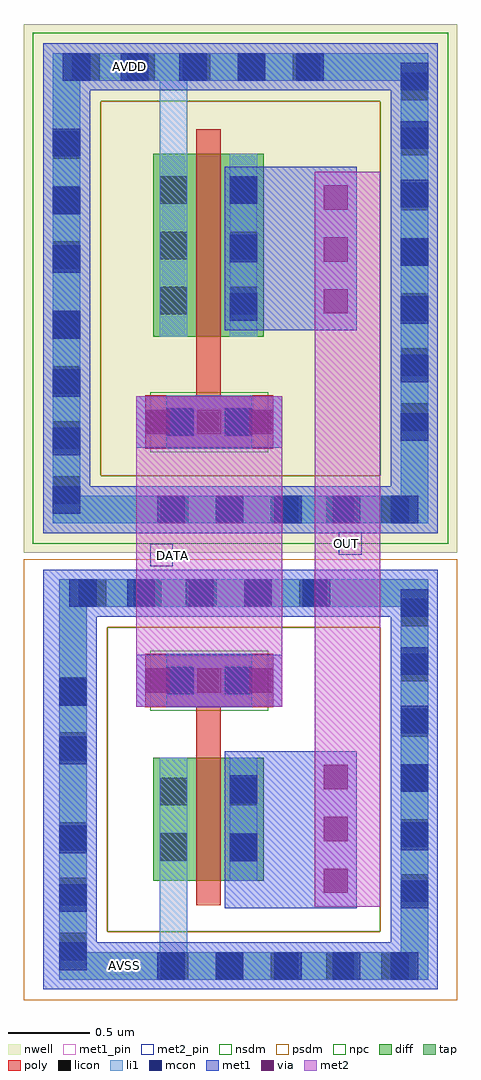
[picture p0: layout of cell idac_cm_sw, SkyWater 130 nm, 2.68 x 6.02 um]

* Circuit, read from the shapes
.subckt idac_cm_sw AVDD AVSS DATA OUT
XM1 OUT DATA AVSS AVSS sky130_fd_pr__nfet_01v8 w=0.76 l=0.15
XM2 OUT DATA AVDD AVDD sky130_fd_pr__pfet_01v8 w=1.13 l=0.15
.ends

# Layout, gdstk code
import gdstk
lib = gdstk.Library(unit=1e-6, precision=1e-09)
def R(c, l, rs):  # rectangles x0, y0, x1, y1
    for r in rs: c.add(gdstk.rectangle(r[:2], r[2:], *l))
def A(c, l, x, y, w, h, nx, ny, dx, dy):  # array of equal rectangles
    R(c, l, [(x+i*dx, y+j*dy, x+i*dx+w, y+j*dy+h) for i in range(nx) for j in range(ny)])
nwell = (64, 20)
diff = (65, 20)
tap = (65, 44)
poly = (66, 20)
licon = (66, 44)
li1 = (67, 20)
mcon = (67, 44)
met1_pin = (68, 16)
met1 = (68, 20)
via = (68, 44)
met2_pin = (69, 16)
met2 = (69, 20)
nsdm = (93, 44)
psdm = (94, 20)
npc = (95, 20)

nfet_01v8_cdns_730897416 = lib.new_cell('nfet_01v8_CDNS_730897416161')
R(nfet_01v8_cdns_730897416, diff, [(-0.265,0,0,0.76), (0,0,0.15,0.76), (0.15,0,0.415,0.76)])
R(nfet_01v8_cdns_730897416, poly, [(0,-0.15,0.15,-0.095), (0,-0.095,0.15,0), (0,0,0.15,0.76), (0,0.76,0.15,0.855), (0,0.855,0.15,0.91)])
R(nfet_01v8_cdns_730897416, licon, [(-0.225,0.125,-0.055,0.295), (0.205,0.125,0.375,0.295), (-0.225,0.465,-0.055,0.635), (0.205,0.465,0.375,0.635)])
R(nfet_01v8_cdns_730897416, li1, [(-0.225,0,-0.055,0.76), (0.205,0,0.375,0.76)])
R(nfet_01v8_cdns_730897416, nsdm, [(-0.405,-0.13,0.555,0.89)])

pfet_01v8_cdns_730897416 = lib.new_cell('pfet_01v8_CDNS_730897416162')
R(pfet_01v8_cdns_730897416, nwell, [(-0.445,-0.18,0.595,1.31)])
R(pfet_01v8_cdns_730897416, diff, [(-0.265,0,0,1.13), (0,0,0.15,1.13), (0.15,0,0.415,1.13)])
R(pfet_01v8_cdns_730897416, poly, [(0,-0.15,0.15,-0.095), (0,-0.095,0.15,0), (0,0,0.15,1.13), (0,1.13,0.15,1.225), (0,1.225,0.15,1.28)])
A(pfet_01v8_cdns_730897416, licon, -0.225, 0.14, 0.17, 0.17, 1, 3, 0, 0.34)
A(pfet_01v8_cdns_730897416, licon, 0.205, 0.14, 0.17, 0.17, 1, 3, 0, 0.34)
R(pfet_01v8_cdns_730897416, li1, [(-0.225,0,-0.055,1.13), (0.205,0,0.375,1.13)])
R(pfet_01v8_cdns_730897416, psdm, [(-0.405,-0.13,0.555,1.26)])

m1m2_c_cdns_730897416160 = lib.new_cell('M1M2_C_CDNS_730897416160')
R(m1m2_c_cdns_730897416160, met1, [(-0.45,-0.16,0.45,0.16)])
A(m1m2_c_cdns_730897416160, via, -0.395, -0.075, 0.15, 0.15, 3, 1, 0.32, 0)
R(m1m2_c_cdns_730897416160, met2, [(-0.45,-0.16,0.45,0.16)])

polyconn_cdns_7308974161 = lib.new_cell('polyConn_CDNS_730897416160')
R(polyconn_cdns_7308974161, poly, [(-0.395,-0.165,0.395,0.165)])
R(polyconn_cdns_7308974161, licon, [(-0.265,-0.085,-0.095,0.085), (0.095,-0.085,0.265,0.085)])
R(polyconn_cdns_7308974161, li1, [(-0.265,-0.165,0.265,0.165)])
R(polyconn_cdns_7308974161, mcon, [(-0.265,-0.085,-0.095,0.085), (0.095,-0.085,0.265,0.085)])
R(polyconn_cdns_7308974161, met1, [(-0.45,-0.16,0.45,0.16)])
R(polyconn_cdns_7308974161, npc, [(-0.365,-0.185,0.365,0.185)])

l1m1_c_cdns_730897416161 = lib.new_cell('L1M1_C_CDNS_730897416161')
R(l1m1_c_cdns_730897416161, li1, [(-0.085,-0.525,0.085,0.525)])
A(l1m1_c_cdns_730897416161, mcon, -0.085, -0.445, 0.17, 0.17, 1, 3, 0, 0.36)
R(l1m1_c_cdns_730897416161, met1, [(-0.115,-0.505,0.115,0.505)])

m1m2_c_cdns_730897416162 = lib.new_cell('M1M2_C_CDNS_730897416162')
R(m1m2_c_cdns_730897416162, met1, [(-0.13,-0.48,0.13,0.48)])
A(m1m2_c_cdns_730897416162, via, -0.075, -0.395, 0.15, 0.15, 1, 3, 0, 0.32)
R(m1m2_c_cdns_730897416162, met2, [(-0.13,-0.48,0.13,0.48)])

l1m1_c_cdns_730897416163 = lib.new_cell('L1M1_C_CDNS_730897416163')
R(l1m1_c_cdns_730897416163, li1, [(-0.085,-0.345,0.085,0.345)])
R(l1m1_c_cdns_730897416163, mcon, [(-0.085,-0.265,0.085,-0.095), (-0.085,0.095,0.085,0.265)])
R(l1m1_c_cdns_730897416163, met1, [(-0.115,-0.325,0.115,0.325)])

idac_cm_sw = lib.new_cell('idac_cm_sw')
R(idac_cm_sw, nwell, [(0,2.76,2.675,6.02)])
A(idac_cm_sw, licon, 0.845, 0.125, 0.17, 0.17, 5, 2, 0.34, 2.815)
A(idac_cm_sw, licon, 0.22, 0.245, 0.17, 0.17, 1, 3, 0, 0.34)
A(idac_cm_sw, licon, 2.325, 0.605, 0.17, 0.17, 1, 6, 0, 0.34)
A(idac_cm_sw, licon, 0.34, 2.425, 0.17, 0.17, 5, 1, 0.34, 0)
A(idac_cm_sw, licon, 0.18, 3.06, 0.17, 0.17, 1, 4, 0, 0.34)
A(idac_cm_sw, licon, 2.325, 3.51, 0.17, 0.17, 1, 7, 0, 0.34)
A(idac_cm_sw, licon, 0.18, 4.51, 0.17, 0.17, 1, 3, 0, 0.34)
A(idac_cm_sw, licon, 0.3, 5.67, 0.17, 0.17, 5, 1, 0.34, 0)
R(idac_cm_sw, licon, [(0.22,1.48,0.39,1.65), (0.22,1.82,0.39,1.99)])
A(idac_cm_sw, mcon, 0.825, 0.125, 0.17, 0.17, 5, 2, 0.36, 2.815)
A(idac_cm_sw, mcon, 0.22, 0.185, 0.17, 0.17, 1, 3, 0, 0.36)
A(idac_cm_sw, mcon, 2.325, 0.565, 0.17, 0.17, 1, 6, 0, 0.36)
A(idac_cm_sw, mcon, 0.28, 2.425, 0.17, 0.17, 5, 1, 0.36, 0)
A(idac_cm_sw, mcon, 0.18, 3, 0.17, 0.17, 1, 4, 0, 0.36)
A(idac_cm_sw, mcon, 2.325, 3.45, 0.17, 0.17, 1, 7, 0, 0.36)
A(idac_cm_sw, mcon, 0.18, 4.485, 0.17, 0.17, 1, 3, 0, 0.36)
A(idac_cm_sw, mcon, 0.24, 5.67, 0.17, 0.17, 5, 1, 0.36, 0)
R(idac_cm_sw, mcon, [(0.22,1.455,0.39,1.625), (0.22,1.815,0.39,1.985)])
R(idac_cm_sw, met1_pin, [(0.535,0.155,0.675,0.295), (0.47,5.685,0.61,5.825)])
R(idac_cm_sw, met1, [(0.12,0.065,0.29,2.655), (1.24,0.565,2.055,1.535), (1.24,4.13,2.055,5.14)])
R(idac_cm_sw, met2_pin, [(0.78,2.675,0.92,2.815), (1.945,2.745,2.085,2.885)])
R(idac_cm_sw, met2, [(1.795,0.575,2.2,5.11), (0.695,1.81,1.595,3.725)])
R(idac_cm_sw, nsdm, [(0.515,0.42,2.2,2.3)])
R(idac_cm_sw, psdm, [(0,0,0.105,2.72), (2.57,0,2.675,2.72), (0.475,3.235,2.2,5.545)])
idac_cm_sw.add(gdstk.FlexPath([(1.14,3.94),(1.14,3.565)], 0.15, ends="flush", simple_path=True, layer=66, datatype=20))  # poly
idac_cm_sw.add(gdstk.FlexPath([(1.14,1.645),(1.14,2.035)], 0.15, ends="flush", simple_path=True, layer=66, datatype=20))  # poly
idac_cm_sw.add(gdstk.FlexPath([(0.925,0.735),(0.925,0.21)], 0.17, ends="flush", simple_path=True, layer=67, datatype=20))  # li1
idac_cm_sw.add(gdstk.FlexPath([(0.925,5.22),(0.925,5.755)], 0.17, ends="flush", simple_path=True, layer=67, datatype=20))  # li1
idac_cm_sw.add(gdstk.FlexPath([(0.265,4.39),(0.265,5.755),(2.41,5.755),(2.41,3.025),(0.265,3.025),(0.265,4.39)], 0.17, ends="flush", simple_path=True, layer=67, datatype=20))  # li1
idac_cm_sw.add(gdstk.FlexPath([(0.305,1.36),(0.305,2.51),(2.41,2.51),(2.41,0.21),(0.305,0.21),(0.305,1.36)], 0.17, ends="flush", simple_path=True, layer=67, datatype=20))  # li1
idac_cm_sw.add(gdstk.FlexPath([(0.265,4.39),(0.265,5.755),(2.41,5.755),(2.41,3.025),(0.265,3.025),(0.265,4.39)], 0.42, ends="flush", simple_path=True, layer=93, datatype=44))  # nsdm
idac_cm_sw.add(gdstk.FlexPath([(0.305,1.36),(0.305,2.51),(2.41,2.51),(2.41,0.21),(0.305,0.21),(0.305,1.36)], 0.42, ends="flush", simple_path=True, layer=94, datatype=20))  # psdm
idac_cm_sw.add(gdstk.FlexPath([(0.265,4.39),(0.265,5.755),(2.41,5.755),(2.41,3.025),(0.265,3.025),(0.265,4.39)], 0.53, ends="flush", simple_path=True, layer=64, datatype=20))  # nwell
idac_cm_sw.add(gdstk.FlexPath([(0.305,1.36),(0.305,2.51),(2.41,2.51),(2.41,0.21),(0.305,0.21),(0.305,1.36)], 0.29, ends="flush", simple_path=True, layer=68, datatype=20))  # met1
idac_cm_sw.add(gdstk.FlexPath([(0.265,4.39),(0.265,5.755),(2.41,5.755),(2.41,3.025),(0.265,3.025),(0.265,4.39)], 0.29, ends="flush", simple_path=True, layer=68, datatype=20))  # met1
idac_cm_sw.add(gdstk.FlexPath([(0.265,4.39),(0.265,5.755),(2.41,5.755),(2.41,3.025),(0.265,3.025),(0.265,4.39)], 0.17, ends="flush", simple_path=True, layer=65, datatype=44))  # tap
idac_cm_sw.add(gdstk.FlexPath([(0.305,1.36),(0.305,2.51),(2.41,2.51),(2.41,0.21),(0.305,0.21),(0.305,1.36)], 0.17, ends="flush", simple_path=True, layer=65, datatype=44))  # tap
idac_cm_sw.add(gdstk.Reference(nfet_01v8_cdns_730897416, (1.065,0.735)))
idac_cm_sw.add(gdstk.Reference(pfet_01v8_cdns_730897416, (1.065,4.09)))
idac_cm_sw.add(gdstk.Reference(m1m2_c_cdns_730897416160, (1.145,3.565)))
idac_cm_sw.add(gdstk.Reference(m1m2_c_cdns_730897416160, (1.145,1.97)))
idac_cm_sw.add(gdstk.Reference(polyconn_cdns_7308974161, (1.145,3.565)))
idac_cm_sw.add(gdstk.Reference(polyconn_cdns_7308974161, (1.145,1.97)))
idac_cm_sw.add(gdstk.Reference(l1m1_c_cdns_730897416161, (1.355,4.635)))
idac_cm_sw.add(gdstk.Reference(m1m2_c_cdns_730897416162, (1.925,1.055)))
idac_cm_sw.add(gdstk.Reference(m1m2_c_cdns_730897416162, (1.925,4.63)))
idac_cm_sw.add(gdstk.Reference(l1m1_c_cdns_730897416163, (1.355,1.12)))
idac_cm_sw.add(gdstk.Label('AVSS', (0.62,0.21), layer=68, texttype=20))
idac_cm_sw.add(gdstk.Label('AVSS', (0.58,0.21), layer=68, texttype=20))
idac_cm_sw.add(gdstk.Label('OUT', (1.99,2.815), layer=69, texttype=20))
idac_cm_sw.add(gdstk.Label('OUT', (2.005,2.815), layer=69, texttype=5))
idac_cm_sw.add(gdstk.Label('DATA', (0.92,2.74), layer=69, texttype=5))
idac_cm_sw.add(gdstk.Label('AVDD', (0.655,5.755), layer=68, texttype=5))
idac_cm_sw.add(gdstk.Label('AVSS', (0.65,0.21), layer=68, texttype=5))

lib.write_gds('idac_cm_sw.gds')
